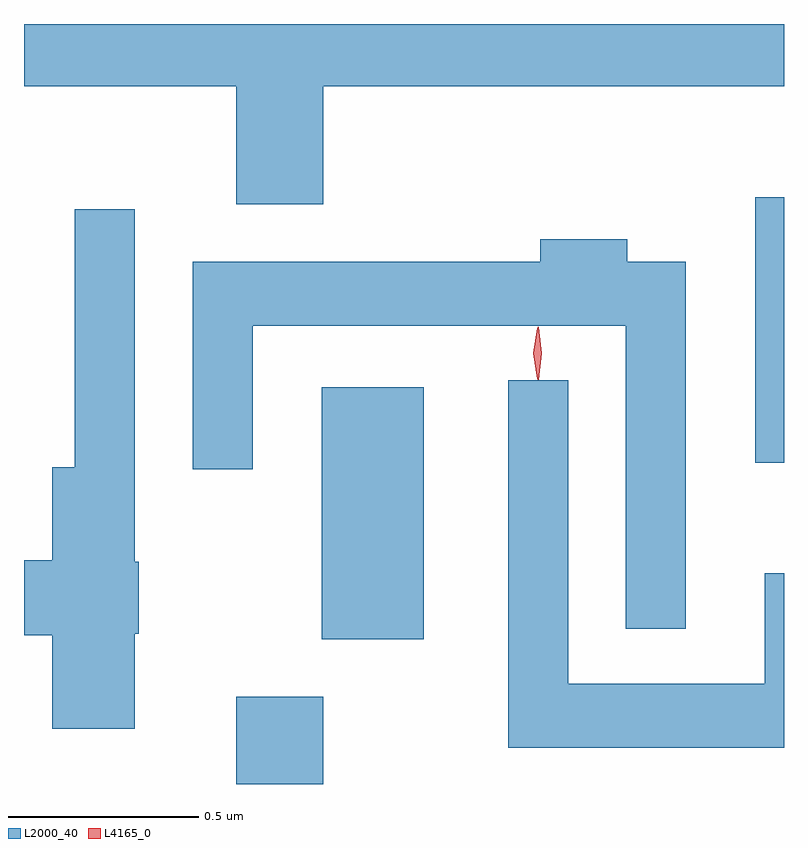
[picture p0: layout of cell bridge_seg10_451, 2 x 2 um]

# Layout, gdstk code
import gdstk
lib = gdstk.Library(unit=1e-6, precision=1e-09)
def R(c, l, rs):  # rectangles x0, y0, x1, y1
    for r in rs: c.add(gdstk.rectangle(r[:2], r[2:], *l))
def P(c, l, *ps):  # polygons
    for p in ps: c.add(gdstk.Polygon(p, *l))
L2000_40 = (2000, 40)
L4165_0 = (4165, 0)

bridge_seg10_451 = lib.new_cell('bridge_seg10_451')
R(bridge_seg10_451, L2000_40, [(1441.591,2092.1,1441.819,2092.329), (1441.816,2092.481,1442.084,2093.144), (1442.956,2092.946,1443.032,2093.644)])
P(bridge_seg10_451, L2000_40, [(1441.819,2093.936),(1443.032,2093.936),(1443.032,2094.1),(1441.032,2094.1),(1441.032,2093.936),(1441.591,2093.936),(1441.591,2093.626),(1441.819,2093.626)],
  [(1441.324,2092.495),(1441.334,2092.495),(1441.334,2092.685),(1441.324,2092.685),(1441.324,2093.613),(1441.166,2093.613),(1441.166,2092.934),(1441.106,2092.934),(1441.106,2092.689),(1441.032,2092.689),(1441.032,2092.491),(1441.106,2092.491),(1441.106,2092.246),(1441.324,2092.246)],
  [(1442.774,2093.474),(1442.619,2093.474),(1442.619,2093.534),(1442.391,2093.534),(1442.391,2093.474),(1441.476,2093.474),(1441.476,2092.928),(1441.634,2092.928),(1441.634,2093.306),(1442.616,2093.306),(1442.616,2092.508),(1442.774,2092.508)],
  [(1443.032,2092.654),(1442.981,2092.654),(1442.981,2092.364),(1442.464,2092.364),(1442.464,2093.163),(1442.306,2093.163),(1442.306,2092.196),(1443.032,2092.196)])
P(bridge_seg10_451, L4165_0, [(1442.384,2093.164),(1442.375,2093.233),(1442.384,2093.302),(1442.385,2093.303),(1442.386,2093.302),(1442.395,2093.233),(1442.386,2093.164),(1442.385,2093.164)],
  [(1442.382,2093.167),(1442.382,2093.167),(1442.372,2093.234),(1442.382,2093.3),(1442.382,2093.3),(1442.383,2093.3),(1442.392,2093.234),(1442.383,2093.167)])

lib.write_gds('bridge_seg10_451.gds')
